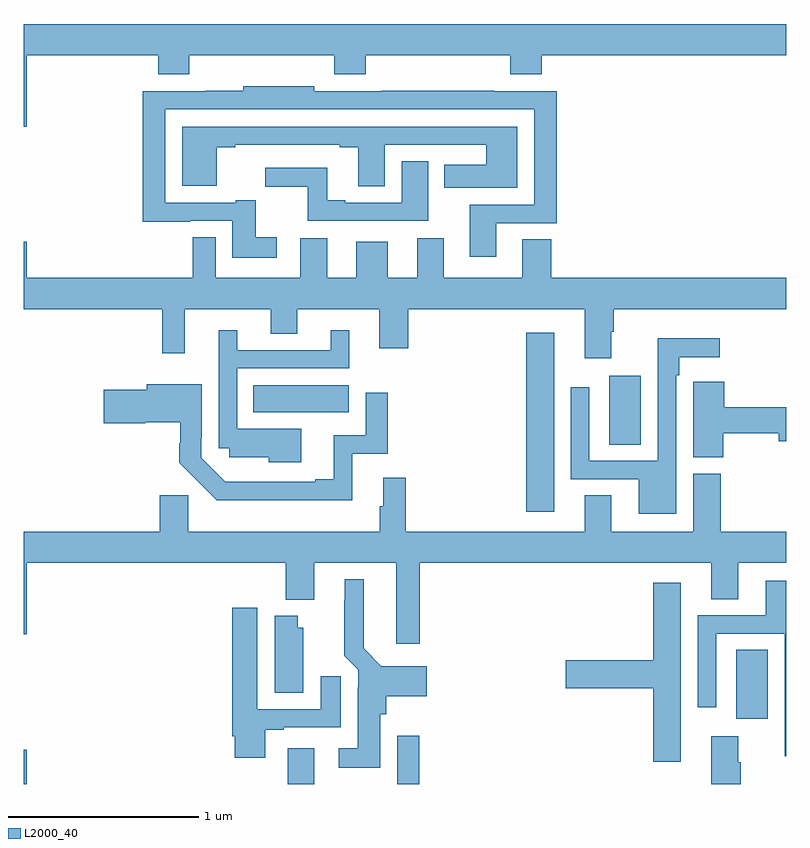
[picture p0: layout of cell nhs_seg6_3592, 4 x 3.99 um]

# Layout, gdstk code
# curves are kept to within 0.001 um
import gdstk
lib = gdstk.Library(unit=1e-6, precision=1e-09)
def R(c, l, rs):  # rectangles x0, y0, x1, y1
    for r in rs: c.add(gdstk.rectangle(r[:2], r[2:], *l))
def P(c, l, *ps):  # polygons
    for p in ps: c.add(gdstk.Polygon(p, *l))
L2000_40 = (2000, 40)

nhs_seg6_3592 = lib.new_cell('nhs_seg6_3592')
R(nhs_seg6_3592, L2000_40, [(321,955.5,321.016,955.681), (322.385,955.5,322.525,955.687), (322.959,955.5,323.075,955.753), (324.737,955.842,324.904,956.204), (323.636,956.928,323.782,957.868), (324.071,957.28,324.238,957.643), (322.204,957.452,322.705,957.592)])
P(nhs_seg6_3592, L2000_40, [(321.016,959.324),(321.704,959.324),(321.704,959.225),(321.869,959.225),(321.869,959.324),(322.628,959.324),(322.628,959.225),(322.793,959.225),(322.793,959.324),(323.552,959.324),(323.552,959.225),(323.717,959.225),(323.717,959.324),(325,959.324),(325,959.488),(321,959.488),(321,958.95),(321.016,958.95)],
  [(322.327,958.369),(322.216,958.369),(322.216,958.564),(322.112,958.564),(322.112,958.551),(321.741,958.551),(321.741,959.04),(323.679,959.04),(323.679,958.539),(323.339,958.539),(323.339,958.266),(323.479,958.266),(323.479,958.443),(323.795,958.443),(323.795,959.136),(323.468,959.136),(323.468,959.138),(322.876,959.138),(322.876,959.136),(322.524,959.136),(322.524,959.161),(322.152,959.161),(322.152,959.138),(321.952,959.138),(321.952,959.136),(321.625,959.136),(321.625,958.45),(321.873,958.45),(321.873,958.455),(322.094,958.455),(322.094,958.262),(322.327,958.262)],
  [(323.59,958.95),(321.83,958.95),(321.83,958.64),(322.012,958.64),(322.012,958.842),(322.108,958.842),(322.108,958.854),(322.658,958.854),(322.658,958.842),(322.754,958.842),(322.754,958.636),(322.894,958.636),(322.894,958.854),(323.426,958.854),(323.426,958.75),(323.207,958.75),(323.207,958.628),(323.59,958.628)],
  [(323.122,958.769),(322.982,958.769),(322.982,958.551),(322.687,958.551),(322.687,958.564),(322.591,958.564),(322.591,958.734),(322.266,958.734),(322.266,958.633),(322.489,958.633),(322.489,958.455),(323.122,958.455)],
  [(322.295,957.862),(322.435,957.862),(322.435,957.992),(322.865,957.992),(322.865,957.786),(323.018,957.786),(323.018,957.992),(323.942,957.992),(323.942,957.735),(324.082,957.735),(324.082,957.872),(324.095,957.872),(324.095,957.992),(325,957.992),(325,958.156),(323.768,958.156),(323.768,958.358),(323.615,958.358),(323.615,958.156),(323.203,958.156),(323.203,958.363),(323.063,958.363),(323.063,958.156),(322.909,958.156),(322.909,958.345),(322.745,958.345),(322.745,958.156),(322.591,958.156),(322.591,958.363),(322.451,958.363),(322.451,958.156),(322.006,958.156),(322.006,958.37),(321.885,958.37),(321.885,958.156),(321.016,958.156),(321.016,958.345),(321,958.345),(321,957.992),(321.727,957.992),(321.727,957.759),(321.845,957.759),(321.845,957.992),(322.295,957.992)],
  [(322.456,957.364),(322.119,957.364),(322.119,957.681),(322.708,957.681),(322.708,957.88),(322.61,957.88),(322.61,957.777),(322.12,957.777),(322.12,957.88),(322.023,957.88),(322.023,957.261),(322.077,957.261),(322.077,957.215),(322.284,957.215),(322.284,957.188),(322.456,957.188)],
  [(324.423,957.644),(324.439,957.644),(324.439,957.74),(324.652,957.74),(324.652,957.838),(324.327,957.838),(324.327,957.195),(323.967,957.195),(323.967,957.583),(323.871,957.583),(323.871,957.099),(324.227,957.099),(324.227,956.918),(324.423,956.918)],
  [(324.669,957.34),(324.962,957.34),(324.962,957.298),(325,957.298),(325,957.476),(324.674,957.476),(324.674,957.61),(324.513,957.61),(324.513,957.497),(324.512,957.497),(324.512,957.214),(324.669,957.214)],
  [(322.211,956.99),(322.723,956.99),(322.723,957.234),(322.91,957.234),(322.91,957.553),(322.794,957.553),(322.794,957.33),(322.625,957.33),(322.625,957.1),(322.529,957.1),(322.529,957.087),(322.058,957.086),(321.93,957.213),(321.93,957.313),(321.933,957.313),(321.933,957.598),(321.644,957.598),(321.644,957.57),(321.42,957.57),(321.42,957.392),(321.636,957.392),(321.636,957.397),(321.821,957.397),(321.821,957.287),(321.815,957.287),(321.815,957.185),(322.012,956.988),(322.211,956.988)],
  [(323.078,956.66),(324.608,956.66),(324.608,956.47),(324.748,956.47),(324.748,956.66),(325,956.66),(325,956.824),(324.656,956.824),(324.656,957.129),(324.512,957.129),(324.512,956.824),(324.082,956.824),(324.082,957.014),(323.942,957.014),(323.942,956.824),(323.003,956.824),(323.003,957.106),(322.886,957.106),(322.886,956.957),(322.867,956.957),(322.867,956.824),(321.863,956.824),(321.863,957.015),(321.713,957.015),(321.713,956.824),(321,956.824),(321,956.286),(321.016,956.286),(321.016,956.66),(322.373,956.66),(322.373,956.468),(322.525,956.468),(322.525,956.66),(322.955,956.66),(322.955,956.235),(323.078,956.235)],
  [(322.87,955.866),(322.901,955.866),(322.901,955.961),(323.113,955.961),(323.113,956.119),(322.875,956.119),(322.783,956.212),(322.783,956.575),(322.685,956.575),(322.685,956.465),(322.681,956.465),(322.681,956.174),(322.755,956.1),(322.755,956.006),(322.751,956.006),(322.751,955.687),(322.653,955.687),(322.653,955.586),(322.87,955.586)],
  [(325,956.566),(324.893,956.566),(324.893,956.385),(324.537,956.385),(324.537,955.902),(324.633,955.902),(324.633,956.289),(324.993,956.289),(324.993,955.646),(325,955.646)],
  [(324.448,956.557),(324.302,956.557),(324.302,956.15),(323.844,956.15),(323.844,956.003),(324.302,956.003),(324.302,955.617),(324.448,955.617)],
  [(322.267,955.785),(322.363,955.785),(322.363,955.797),(322.663,955.797),(322.663,956.065),(322.559,956.065),(322.559,955.893),(322.225,955.893),(322.225,956.425),(322.094,956.425),(322.094,955.75),(322.106,955.75),(322.106,955.638),(322.267,955.638)],
  [(322.465,956.319),(322.438,956.319),(322.438,956.383),(322.316,956.383),(322.316,955.978),(322.465,955.978)],
  [(324.761,955.613),(324.748,955.613),(324.748,955.75),(324.608,955.75),(324.608,955.5),(324.761,955.5)])

lib.write_gds('nhs_seg6_3592.gds')
